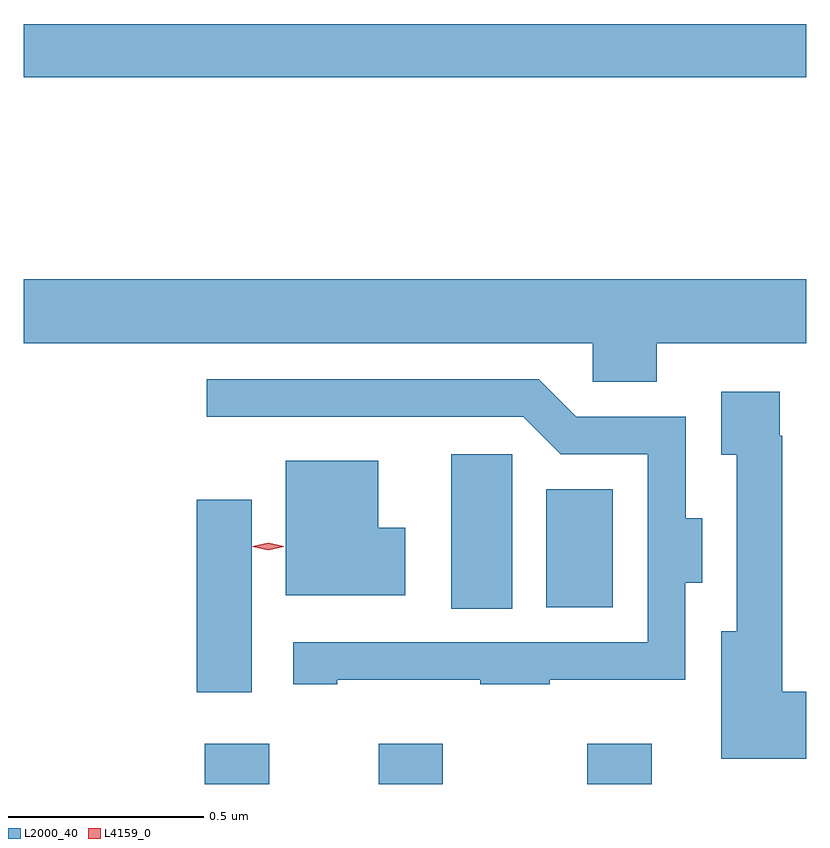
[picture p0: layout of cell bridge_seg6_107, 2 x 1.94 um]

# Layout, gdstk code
import gdstk
lib = gdstk.Library(unit=1e-6, precision=1e-09)
def R(c, l, rs):  # rectangles x0, y0, x1, y1
    for r in rs: c.add(gdstk.rectangle(r[:2], r[2:], *l))
def P(c, l, *ps):  # polygons
    for p in ps: c.add(gdstk.Polygon(p, *l))
L2000_40 = (2000, 40)
L4159_0 = (4159, 0)

bridge_seg6_107 = lib.new_cell('bridge_seg6_107')
R(bridge_seg6_107, L2000_40, [(388.031,988.833,388.195,988.936), (388.475,988.833,388.639,988.936), (389.009,988.833,389.173,988.936), (388.01,989.067,388.15,989.56), (388.661,989.281,388.816,989.676), (388.904,989.285,389.074,989.587), (387.568,990.64,389.568,990.776)])
P(bridge_seg6_107, L2000_40, [(389.186,989.96),(389.568,989.96),(389.568,990.124),(387.568,990.124),(387.568,989.96),(389.022,989.96),(389.022,989.862),(389.186,989.862)],
  [(388.369,989.099),(388.735,989.099),(388.735,989.088),(388.913,989.088),(388.913,989.099),(389.259,989.099),(389.259,989.348),(389.302,989.348),(389.302,989.512),(389.26,989.512),(389.26,989.772),(388.98,989.772),(388.884,989.868),(388.035,989.868),(388.035,989.772),(388.845,989.772),(388.941,989.676),(389.163,989.676),(389.163,989.196),(388.257,989.196),(388.257,989.088),(388.369,989.088)],
  [(389.568,989.069),(389.507,989.069),(389.507,989.723),(389.5,989.723),(389.5,989.836),(389.351,989.836),(389.351,989.675),(389.391,989.675),(389.391,989.224),(389.351,989.224),(389.351,988.898),(389.568,988.898)],
  [(388.543,989.488),(388.474,989.488),(388.474,989.659),(388.238,989.659),(388.238,989.315),(388.543,989.315)])
P(bridge_seg6_107, L4159_0, [(388.193,989.43),(388.153,989.44),(388.153,989.44),(388.153,989.441),(388.193,989.45),(388.232,989.441),(388.233,989.44),(388.232,989.44)])

lib.write_gds('bridge_seg6_107.gds')
